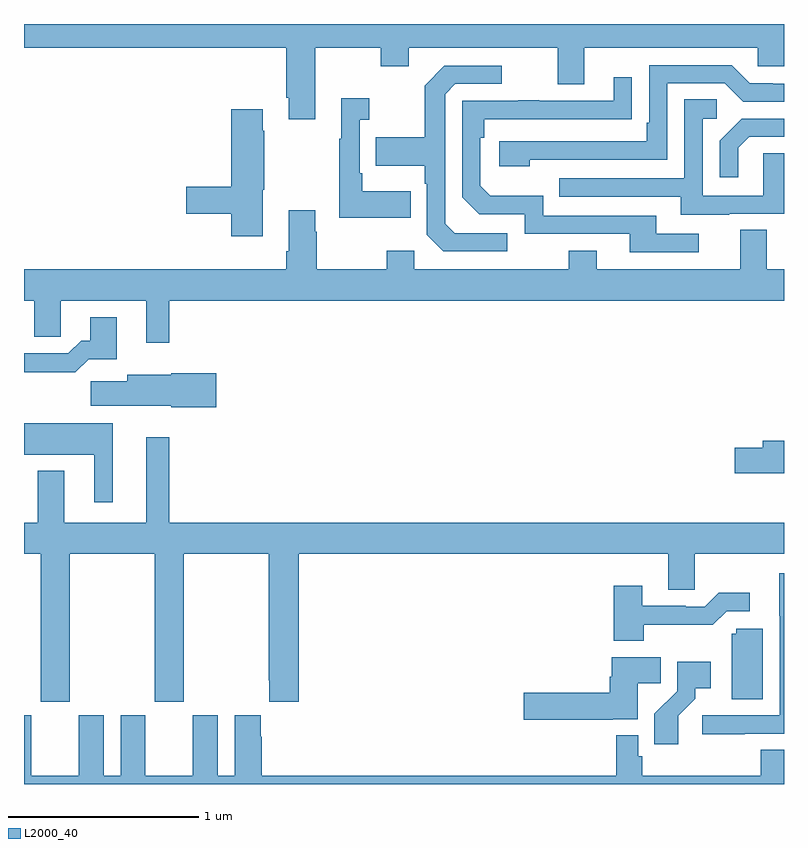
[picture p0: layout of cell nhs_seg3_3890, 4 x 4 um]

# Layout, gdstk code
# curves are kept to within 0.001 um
import gdstk
lib = gdstk.Library(unit=1e-6, precision=1e-09)
def P(c, l, *ps):  # polygons
    for p in ps: c.add(gdstk.Polygon(p, *l))
L2000_40 = (2000, 40)

nhs_seg3_3890 = lib.new_cell('nhs_seg3_3890')
P(nhs_seg3_3890, L2000_40, [(314.533,674.276),(314.878,674.276),(314.878,674.177),(315.025,674.177),(315.025,674.276),(315.809,674.276),(315.809,674.082),(315.949,674.082),(315.949,674.276),(316.863,674.276),(316.863,674.178),(317,674.178),(317,674.4),(313,674.4),(313,674.276),(314.381,674.276),(314.381,674.011),(314.393,674.011),(314.393,673.899),(314.533,673.899)],
  [(315.662,673.686),(316.386,673.686),(316.386,674.088),(316.689,674.088),(316.785,673.992),(317,673.992),(317,674.085),(316.94,674.085),(316.94,674.088),(316.821,674.088),(316.725,674.184),(316.29,674.184),(316.29,673.879),(316.277,673.879),(316.277,673.782),(315.501,673.782),(315.501,673.652),(315.662,673.652)],
  [(315.544,673.299),(315.267,673.299),(315.216,673.35),(315.216,674.031),(315.27,674.085),(315.514,674.085),(315.514,674.181),(315.213,674.181),(315.108,674.075),(315.108,673.803),(314.851,673.803),(314.851,673.655),(315.108,673.655),(315.108,673.559),(315.12,673.559),(315.12,673.29),(315.207,673.203),(315.544,673.203)],
  [(316.552,673.296),(316.327,673.296),(316.327,673.392),(315.732,673.392),(315.732,673.495),(315.455,673.495),(315.402,673.548),(315.402,673.802),(315.422,673.802),(315.422,673.899),(316.199,673.9),(316.199,674.119),(316.103,674.119),(316.103,673.995),(315.713,673.995),(315.713,674),(315.601,674),(315.601,673.995),(315.306,673.995),(315.306,673.488),(315.396,673.398),(315.636,673.398),(315.636,673.296),(316.187,673.296),(316.187,673.2),(316.552,673.2)],
  [(315.035,673.519),(314.779,673.519),(314.779,673.615),(314.766,673.615),(314.766,673.895),(314.818,673.895),(314.818,674.008),(314.669,674.008),(314.669,673.795),(314.658,673.795),(314.658,673.379),(315.035,673.379)],
  [(316.711,673.401),(317,673.401),(317,673.721),(316.89,673.721),(316.89,673.497),(316.572,673.497),(316.572,673.902),(316.645,673.902),(316.645,674.003),(316.476,674.003),(316.476,673.587),(315.817,673.587),(315.817,673.491),(316.457,673.491),(316.457,673.397),(316.711,673.397)],
  [(314.257,673.527),(314.265,673.527),(314.265,673.838),(314.257,673.838),(314.257,673.951),(314.09,673.951),(314.09,673.544),(313.854,673.544),(313.854,673.402),(314.09,673.402),(314.09,673.284),(314.257,673.284)],
  [(316.759,673.749),(316.816,673.806),(317,673.806),(317,673.902),(316.778,673.902),(316.662,673.786),(316.662,673.593),(316.759,673.593)],
  [(313.765,672.944),(317,672.944),(317,673.108),(316.909,673.108),(316.909,673.316),(316.769,673.316),(316.769,673.108),(316.015,673.108),(316.015,673.207),(315.868,673.207),(315.868,673.108),(315.054,673.108),(315.054,673.207),(314.908,673.207),(314.908,673.108),(314.541,673.108),(314.541,673.307),(314.533,673.307),(314.533,673.42),(314.393,673.42),(314.393,673.204),(314.381,673.204),(314.381,673.108),(313,673.108),(313,672.944),(313.055,672.944),(313.055,672.754),(313.194,672.754),(313.194,672.944),(313.643,672.944),(313.643,672.723),(313.765,672.723)],
  [(313.34,672.635),(313.489,672.635),(313.489,672.856),(313.349,672.856),(313.349,672.733),(313.3,672.733),(313.233,672.666),(313,672.666),(313,672.568),(313.015,672.568),(313.015,672.566),(313.271,672.566)],
  [(314.011,672.561),(313.776,672.561),(313.776,672.553),(313.544,672.553),(313.544,672.521),(313.35,672.521),(313.35,672.392),(313.776,672.392),(313.776,672.383),(314.011,672.383)],
  [(313.468,672.298),(313,672.298),(313,672.134),(313.37,672.134),(313.37,671.883),(313.468,671.883)],
  [(313.242,671.612),(313.687,671.612),(313.687,670.833),(313.842,670.833),(313.842,671.612),(314.287,671.612),(314.287,670.945),(314.291,670.945),(314.291,670.833),(314.447,670.833),(314.447,671.612),(316.391,671.612),(316.391,671.422),(316.53,671.422),(316.53,671.612),(317,671.612),(317,671.776),(313.765,671.776),(313.765,672.226),(313.643,672.226),(313.643,671.776),(313.213,671.776),(313.213,672.049),(313.073,672.049),(313.073,671.776),(313,671.776),(313,671.612),(313.087,671.612),(313.087,670.833),(313.242,670.833)],
  [(317,672.206),(316.889,672.206),(316.889,672.17),(316.74,672.17),(316.74,672.035),(317,672.035)],
  [(316.793,670.665),(317,670.665),(317,671.509),(316.976,671.509),(316.976,671.286),(316.977,671.286),(316.977,670.761),(316.569,670.761),(316.569,670.663),(316.793,670.663)],
  [(316.263,671.238),(316.625,671.237),(316.698,671.31),(316.819,671.31),(316.819,671.407),(316.657,671.407),(316.584,671.334),(316.484,671.334),(316.484,671.337),(316.255,671.337),(316.255,671.443),(316.103,671.443),(316.103,671.153),(316.263,671.153)],
  [(316.888,671.217),(316.749,671.217),(316.749,671.19),(316.724,671.19),(316.724,670.846),(316.888,670.846)],
  [(316.098,670.742),(316.231,670.742),(316.231,670.93),(316.352,670.93),(316.352,671.068),(316.094,671.068),(316.094,670.964),(316.082,670.964),(316.082,670.88),(315.63,670.88),(315.63,670.738),(316.098,670.738)],
  [(316.444,670.759),(316.534,670.849),(316.534,670.904),(316.615,670.904),(316.615,671.044),(316.437,671.044),(316.437,670.889),(316.318,670.77),(316.318,670.608),(316.444,670.608)],
  [(317,670.58),(316.877,670.58),(316.877,670.444),(316.253,670.444),(316.253,670.545),(316.233,670.545),(316.233,670.657),(316.117,670.657),(316.117,670.444),(314.252,670.444),(314.252,670.649),(314.245,670.649),(314.245,670.762),(314.108,670.762),(314.108,670.444),(314.02,670.444),(314.02,670.762),(313.889,670.762),(313.889,670.444),(313.639,670.444),(313.639,670.762),(313.508,670.762),(313.508,670.444),(313.42,670.444),(313.42,670.762),(313.289,670.762),(313.289,670.444),(313.039,670.444),(313.039,670.762),(313,670.762),(313,670.4),(317,670.4)])

lib.write_gds('nhs_seg3_3890.gds')
